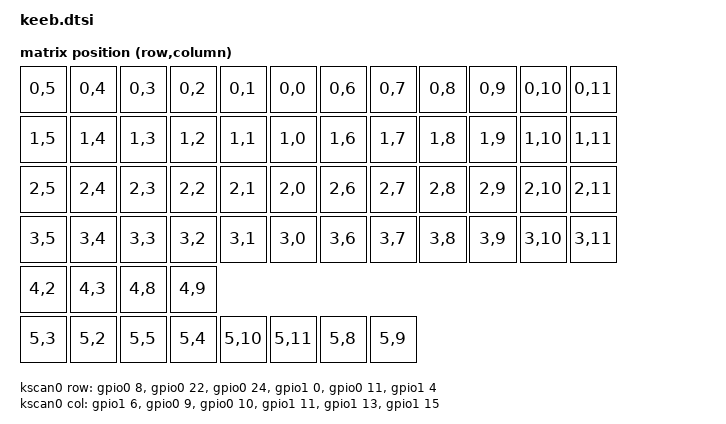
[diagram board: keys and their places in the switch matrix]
#include <dt-bindings/gpio/gpio.h>
#include <dt-bindings/pinctrl/nrf-pinctrl.h>
#include <dt-bindings/pwm/pwm.h>
#include <dt-bindings/regulator/nrf5x.h>
#include <dt-bindings/zmk/matrix_transform.h>

#include <keeb-positions.dtsi>

/ {
	chosen {
		zephyr,display = &nice_view;
		zmk,kscan = &kscan0;
		zmk,matrix-transform = &default_transform;
    zmk,battery = &vbatt;
	};

    vbatt: vbatt {
        compatible = "zmk,battery-nrf-vddh";
        label = "BATTERY";
    };

	default_transform: keymap_transform_0 {
		compatible = "zmk,matrix-transform";
		columns = <12>;
		rows = <6>;
	map = <
			RC(0,5) RC(0,4) RC(0,3) RC(0,2) RC(0,1) RC(0,0)   RC(0,6) RC(0,7) RC(0,8)  RC(0,9)  RC(0,10) RC(0,11)
			RC(1,5) RC(1,4) RC(1,3) RC(1,2) RC(1,1) RC(1,0)   RC(1,6) RC(1,7) RC(1,8)  RC(1,9)  RC(1,10) RC(1,11)
			RC(2,5) RC(2,4) RC(2,3) RC(2,2) RC(2,1) RC(2,0)   RC(2,6) RC(2,7) RC(2,8)  RC(2,9)  RC(2,10) RC(2,11)
			RC(3,5) RC(3,4) RC(3,3) RC(3,2) RC(3,1) RC(3,0)   RC(3,6) RC(3,7) RC(3,8)  RC(3,9)  RC(3,10) RC(3,11)
			RC(4,2) RC(4,3)   RC(4,8) RC(4,9)
			RC(5,3) RC(5,2) RC(5,5) RC(5,4)   RC(5,10) RC(5,11) RC(5,8) RC(5,9)
		>;
	};

kscan0: kscan {
		compatible = "zmk,kscan-gpio-matrix";
		diode-direction = "col2row";
		wakeup-source;
		row-gpios =
			<&gpio0  8 (GPIO_ACTIVE_HIGH | GPIO_PULL_DOWN)>,  /* D0  */
			<&gpio0 22 (GPIO_ACTIVE_HIGH | GPIO_PULL_DOWN)>,  /* D4  */
			<&gpio0 24 (GPIO_ACTIVE_HIGH | GPIO_PULL_DOWN)>,  /* D5  */
			<&gpio1  0 (GPIO_ACTIVE_HIGH | GPIO_PULL_DOWN)>,  /* D6  */
			<&gpio0 11 (GPIO_ACTIVE_HIGH | GPIO_PULL_DOWN)>,  /* D7  */
			<&gpio1  4 (GPIO_ACTIVE_HIGH | GPIO_PULL_DOWN)>;  /* D8  */
		col-gpios =
			<&gpio1  6 GPIO_ACTIVE_HIGH>,  /* D9  */
			<&gpio0  9 GPIO_ACTIVE_HIGH>,  /* D10 */
			<&gpio0 10 GPIO_ACTIVE_HIGH>,  /* D16 */
			<&gpio1 11 GPIO_ACTIVE_HIGH>,  /* D14 */
			<&gpio1 13 GPIO_ACTIVE_HIGH>,  /* D15 */
			<&gpio1 15 GPIO_ACTIVE_HIGH>;  /* D18 */
	};

status_leds: status_leds {
		compatible = "pwm-leds";

		led_r: led_r {
			/* instance channel, period, polarity (common cathode -> active high) */
			pwms = <&pwm1 0 PWM_USEC(2000) PWM_POLARITY_NORMAL>;  /* D19/A1 = P0.02 */
		};
		led_g: led_g {
			pwms = <&pwm1 1 PWM_USEC(2000) PWM_POLARITY_NORMAL>;  /* D20/A2 = P0.29 */
		};
		led_b: led_b {
			pwms = <&pwm1 2 PWM_USEC(2000) PWM_POLARITY_NORMAL>;  /* D21/A3 = P0.31 */
		};
	};

	status_led_device: status_led_device {
		compatible = "zmk,status-led";
		led-r = <&led_r>;
		led-g = <&led_g>;
		led-b = <&led_b>;
	};

	behaviors {
	layer_art: la {
			compatible = "keeb,layer-art";
			#binding-cells = <1>;
			display-name = "Layer Art";
		};

	right_reset: right_reset {
			compatible = "keeb,remote-reset";
			target = <&sys_reset>;
			#binding-cells = <0>;
			display-name = "Right Half Reset";
		};

		right_boot: right_boot {
			compatible = "keeb,remote-reset";
			target = <&bootloader>;
			#binding-cells = <0>;
			display-name = "Right Half Bootloader";
		};

	buzzer_reset: buzzer_reset {
			compatible = "zmk,behavior-buzzer";
			target = <&sys_reset>;
			#binding-cells = <0>;
			display-name = "Buzz Then Reset";
		};

		buzzer_boot: buzzer_boot {
			compatible = "zmk,behavior-buzzer";
			target = <&bootloader>;
			tune = "bootloader";
			#binding-cells = <0>;
			display-name = "Buzz Then Bootloader";
		};
	};
};

&pinctrl {
	status_led_pwm_default: status_led_pwm_default {
		group1 {
			psels = <NRF_PSEL(PWM_OUT0, 0, 2)>,   /* R  D19/A1 = P0.02 */
				<NRF_PSEL(PWM_OUT1, 0, 29)>,  /* G  D20/A2 = P0.29 */
				<NRF_PSEL(PWM_OUT2, 0, 31)>;  /* B  D21/A3 = P0.31 */
		};
	};

	status_led_pwm_sleep: status_led_pwm_sleep {
		group1 {
			psels = <NRF_PSEL(PWM_OUT0, 0, 2)>,
				<NRF_PSEL(PWM_OUT1, 0, 29)>,
				<NRF_PSEL(PWM_OUT2, 0, 31)>;
			low-power-enable;
		};
	};
};

&pwm1 {
	status = "okay";
	pinctrl-0 = <&status_led_pwm_default>;
	pinctrl-1 = <&status_led_pwm_sleep>;
	pinctrl-names = "default", "sleep";
};

&uart0 {
	status = "disabled";
};

&i2c0 {
	status = "disabled";
};

&adc {
	status = "okay";
};

&zephyr_udc0 {
	board_cdc_acm_uart: board_cdc_acm_uart {
		compatible = "zephyr,cdc-acm-uart";
	};
};

/ {
	chosen {
		zephyr,console = &board_cdc_acm_uart;
		zephyr,shell-uart = &board_cdc_acm_uart;
	};
};

&reg0 {
	status = "disabled";
};

&reg1 {
	regulator-initial-mode = <NRF5X_REG_MODE_LDO>;
};

&pinctrl {
	spi0_default: spi0_default {
		group1 {
			psels = <NRF_PSEL(SPIM_SCK, 0, 20)>,
				<NRF_PSEL(SPIM_MOSI, 0, 17)>,
				<NRF_PSEL(SPIM_MISO, 0, 25)>;
		};
	};

	spi0_sleep: spi0_sleep {
		group1 {
			psels = <NRF_PSEL(SPIM_SCK, 0, 20)>,
				<NRF_PSEL(SPIM_MOSI, 0, 17)>,
				<NRF_PSEL(SPIM_MISO, 0, 25)>;
			low-power-enable;
		};
	};
};

nice_view_spi: &spi0 {
	compatible = "nordic,nrf-spim";
	status = "okay";
	pinctrl-0 = <&spi0_default>;
	pinctrl-1 = <&spi0_sleep>;
	pinctrl-names = "default", "sleep";
	/* LS0xx chip select is active-high (XS: L = disabled, H = enabled),
	 * which is also what ZMK's nice_view_adapter uses. */
	cs-gpios = <&gpio0 6 GPIO_ACTIVE_HIGH>;  /* D1 */

	nice_view: ls0xx@0 {
		compatible = "sharp,ls0xx";
		status = "okay";
		reg = <0>;
		spi-max-frequency = <1000000>;
		width = <160>;
		height = <68>;
		serial-vcom-inversion;
		serial-vcom-interval = <33>;
	};
};
/ {
	keeb_engine: engine {
		compatible = "keeb,engine";
   	tokens = <
			&kp &trans &none
			&mo &to &tog &lt &mt
			&sk &sl &kt &gresc &key_repeat &caps_word
			&bt &out &sys_reset &bootloader
			&bl &rgb_ug
			&mmv &msc &mkp
			&hml &hmr
			&layer_art &right_reset &right_boot
		>;

		reserved-positions = <KEEB_POS_L_TOP_0 KEEB_POS_R_TOP_0>;
		revert-hold-ms = <3000>;
	};
};
